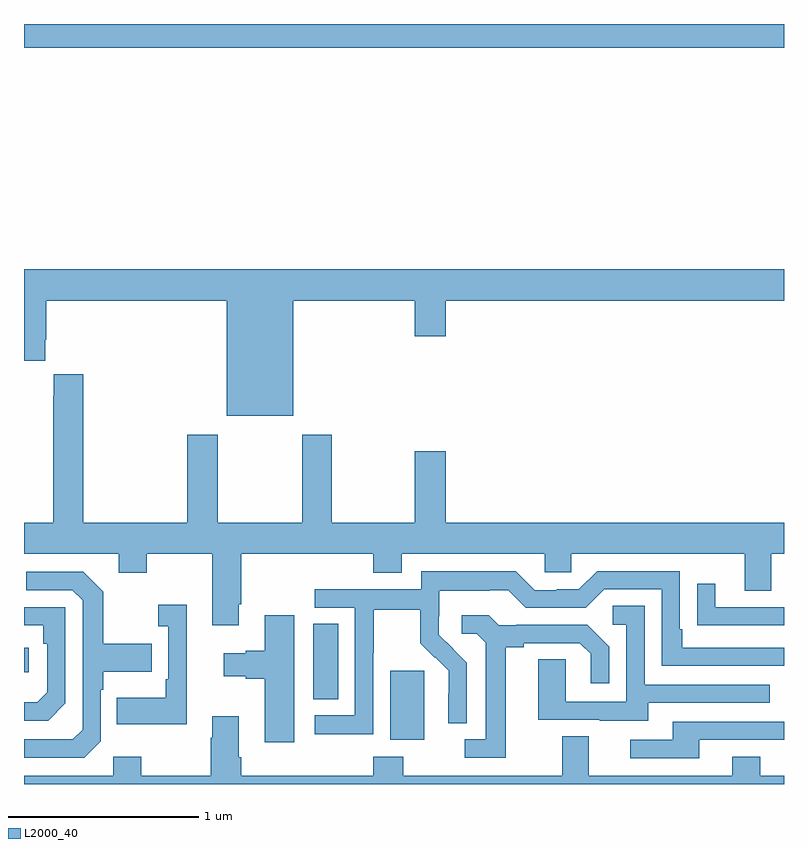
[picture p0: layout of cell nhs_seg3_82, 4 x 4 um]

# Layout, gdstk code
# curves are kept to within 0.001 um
import gdstk
lib = gdstk.Library(unit=1e-6, precision=1e-09)
def R(c, l, rs):  # rectangles x0, y0, x1, y1
    for r in rs: c.add(gdstk.rectangle(r[:2], r[2:], *l))
def P(c, l, *ps):  # polygons
    for p in ps: c.add(gdstk.Polygon(p, *l))
L2000_40 = (2000, 40)

nhs_seg3_82 = lib.new_cell('nhs_seg3_82')
R(nhs_seg3_82, L2000_40, [(116.927,670.634,117.106,670.995), (116.522,670.846,116.653,671.243), (115,670.988,115.024,671.118), (115,674.276,119,674.4)])
P(nhs_seg3_82, L2000_40, [(116.416,672.944),(117.056,672.944),(117.056,672.756),(117.22,672.756),(117.22,672.944),(119,672.944),(119,673.108),(115,673.108),(115,672.627),(115.111,672.627),(115.111,672.739),(115.118,672.739),(115.118,672.944),(116.066,672.944),(116.066,672.338),(116.416,672.338)],
  [(116.131,671.347),(116.144,671.347),(116.144,671.612),(116.837,671.612),(116.837,671.513),(116.989,671.513),(116.989,671.612),(117.741,671.612),(117.741,671.514),(117.879,671.514),(117.879,671.612),(118.793,671.612),(118.793,671.418),(118.933,671.418),(118.933,671.612),(119,671.612),(119,671.776),(117.22,671.776),(117.22,672.151),(117.056,672.151),(117.056,671.776),(116.619,671.776),(116.619,672.238),(116.464,672.238),(116.464,671.776),(116.019,671.776),(116.019,672.238),(115.859,672.238),(115.859,671.776),(115.313,671.776),(115.313,672.556),(115.157,672.556),(115.157,672.443),(115.153,672.443),(115.153,671.776),(115,671.776),(115,671.612),(115.499,671.612),(115.499,671.513),(115.647,671.513),(115.647,671.612),(115.991,671.612),(115.991,671.235),(116.131,671.235)],
  [(116.838,671.092),(116.841,671.092),(116.841,671.316),(117.085,671.316),(117.085,671.141),(117.162,671.064),(117.165,671.067),(117.236,670.997),(117.236,670.874),(117.234,670.874),(117.234,670.72),(117.33,670.72),(117.33,671.038),(117.184,671.186),(117.184,671.283),(117.186,671.283),(117.186,671.417),(117.449,671.417),(117.449,671.421),(117.549,671.421),(117.642,671.328),(117.957,671.328),(118.053,671.424),(118.356,671.424),(118.356,671.022),(119,671.022),(119,671.118),(118.465,671.118),(118.465,671.215),(118.452,671.215),(118.452,671.52),(118.017,671.52),(117.921,671.424),(117.803,671.424),(117.803,671.421),(117.687,671.421),(117.587,671.521),(117.09,671.521),(117.09,671.424),(116.529,671.424),(116.529,671.328),(116.742,671.328),(116.742,670.761),(116.529,670.761),(116.529,670.663),(116.838,670.663)],
  [(115.404,670.626),(115.404,670.895),(115.417,670.895),(115.417,670.991),(115.673,670.991),(115.673,671.139),(115.417,671.139),(115.417,671.411),(115.311,671.517),(115.011,671.517),(115.011,671.421),(115.254,671.421),(115.308,671.367),(115.308,670.686),(115.257,670.635),(115,670.635),(115,670.539),(115.317,670.539)],
  [(119,671.331),(118.639,671.331),(118.639,671.455),(118.543,671.455),(118.543,671.236),(118.645,671.236),(118.645,671.235),(119,671.235)],
  [(115.856,671.344),(115.707,671.344),(115.707,671.231),(115.758,671.231),(115.758,670.951),(115.746,670.951),(115.746,670.855),(115.489,670.855),(115.489,670.715),(115.856,670.715)],
  [(118.285,670.827),(118.925,670.827),(118.925,670.923),(118.266,670.923),(118.266,671.339),(118.098,671.339),(118.098,671.238),(118.17,671.238),(118.17,670.833),(117.852,670.833),(117.852,671.057),(117.707,671.057),(117.707,670.737),(118.031,670.737),(118.031,670.733),(118.285,670.733)],
  [(115.218,670.824),(115.218,671.331),(115,671.331),(115,671.235),(115.102,671.235),(115.102,671.138),(115.122,671.138),(115.122,670.884),(115.069,670.831),(115,670.831),(115,670.734),(115.128,670.734)],
  [(117.535,671.12),(117.631,671.12),(117.631,671.142),(117.926,671.142),(117.983,671.085),(117.983,670.929),(118.08,670.929),(118.08,671.122),(117.964,671.238),(117.592,671.238),(117.592,671.235),(117.498,671.235),(117.446,671.287),(117.303,671.287),(117.303,671.19),(117.384,671.19),(117.431,671.143),(117.431,670.635),(117.321,670.635),(117.321,670.539),(117.535,670.539)],
  [(116.422,671.287),(116.267,671.287),(116.267,671.102),(116.168,671.102),(116.168,671.089),(116.052,671.089),(116.052,670.967),(116.168,670.967),(116.168,670.955),(116.267,670.955),(116.267,670.62),(116.422,670.62)],
  [(119,670.444),(118.875,670.444),(118.875,670.543),(118.727,670.543),(118.727,670.444),(117.973,670.444),(117.973,670.652),(117.833,670.652),(117.833,670.444),(116.997,670.444),(116.997,670.543),(116.837,670.543),(116.837,670.444),(116.144,670.444),(116.144,670.54),(116.131,670.54),(116.131,670.756),(115.991,670.756),(115.991,670.643),(115.984,670.643),(115.984,670.444),(115.617,670.444),(115.617,670.543),(115.47,670.543),(115.47,670.444),(115,670.444),(115,670.4),(119,670.4)],
  [(118.555,670.632),(119,670.632),(119,670.728),(118.415,670.728),(118.415,670.632),(118.191,670.632),(118.191,670.536),(118.555,670.536)])

lib.write_gds('nhs_seg3_82.gds')
